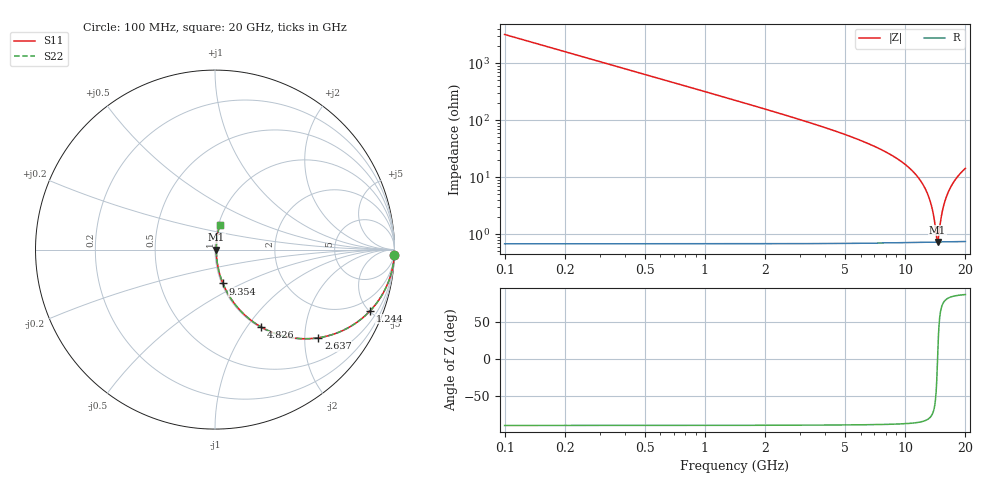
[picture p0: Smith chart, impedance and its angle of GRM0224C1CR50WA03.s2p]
!Murata Part Number: GRM0224C1CR50WA03
!These Parameters are Measured in Series Mode Connection
!Data Generated on Mar 30, 2021
!  o--ll--o
!Port1  Port2
!  o------o
!Operation Temp=25[degC], DC Bias Voltage=0[V]
!Freq. Start=100[MHz] Stop=20[GHz] 401[Steps]
# Hz S RI R 50
!Freq.(Hz) S11(Real) S11(Imag) S21(Real) S21(Imag) S12(Real) S12(Imag) S22(Real) S22(Imag)
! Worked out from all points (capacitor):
!   401 points, 100 MHz to 20 GHz, reference 50 ohm
!   read as one part in series: C = 500 fF near 199.5 MHz
!   lowest |Z| = 727 mohm at 14.53 GHz (marker M1)
!   series resonance near 14.52 GHz, so ESL is about 240 pH
!   S11 on the Smith chart (normalised r, x): 100 MHz: 1, -64; 1.244 GHz: 1.01, -5.08; 2.637 GHz: 1.01, -2.33; 4.826 GHz: 1.01, -1.17; 9.354 GHz: 1.01, -0.40; 20 GHz: 1.01, +0.29
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1e8  0.999 -0.0314  0.000993 0.0314  0.000993 0.0314  0.999 -0.0314
2.99e8  0.9912 -0.0931  0.00881 0.0931  0.00881 0.0931  0.9912 -0.0931
4.98e8  0.9759 -0.1528  0.0241 0.1528  0.0241 0.1528  0.9759 -0.1528
7.965e8  0.9404 -0.2359  0.0596 0.2359  0.0596 0.2359  0.9404 -0.2359
1.24425e9  0.8651 -0.3403  0.1349 0.3403  0.1349 0.3403  0.8651 -0.3403
2.63725e9  0.5762 -0.4913  0.4238 0.4913  0.4238 0.4913  0.5762 -0.4913
3.43325e9  0.4343 -0.4918  0.5657 0.4918  0.5657 0.4918  0.4343 -0.4918
4.82625e9  0.2585 -0.432  0.7415 0.432  0.7415 0.432  0.2585 -0.432
6.7665e9  0.124 -0.3203  0.876 0.3203  0.876 0.3203  0.124 -0.3203
9.3535e9  0.0443 -0.1888  0.9557 0.1888  0.9557 0.1888  0.0443 -0.1888
1.005e10  0.033 -0.1583  0.967 0.1583  0.967 0.1583  0.033 -0.1583
1.208975e10  0.0135 -0.0791  0.9865 0.0791  0.9865 0.0791  0.0135 -0.0791
1.338325e10  0.00842 -0.0352  0.9916 0.0352  0.9916 0.0352  0.00842 -0.0352
1.3831e10  0.00763 -0.021  0.9924 0.021  0.9924 0.021  0.00763 -0.021
1.437825e10  0.00723 -0.00427  0.9928 0.00427  0.9928 0.00427  0.00723 -0.00427
1.45275e10  0.00721 0.000183  0.9928 -0.000183  0.9928 -0.000183  0.00721 0.000183
1.467675e10  0.00724 0.00459  0.9928 -0.00459  0.9928 -0.00459  0.00724 0.00459
1.51245e10  0.00754 0.0176  0.9925 -0.0176  0.9925 -0.0176  0.00754 0.0176
1.547275e10  0.008 0.0274  0.992 -0.0274  0.992 -0.0274  0.008 0.0274
1.67165e10  0.011 0.0607  0.989 -0.0607  0.989 -0.0607  0.011 0.0607
1.81095e10  0.0165 0.0951  0.9835 -0.0951  0.9835 -0.0951  0.0165 0.0951
2e10  0.0268 0.1377  0.9732 -0.1377  0.9732 -0.1377  0.0268 0.1377
